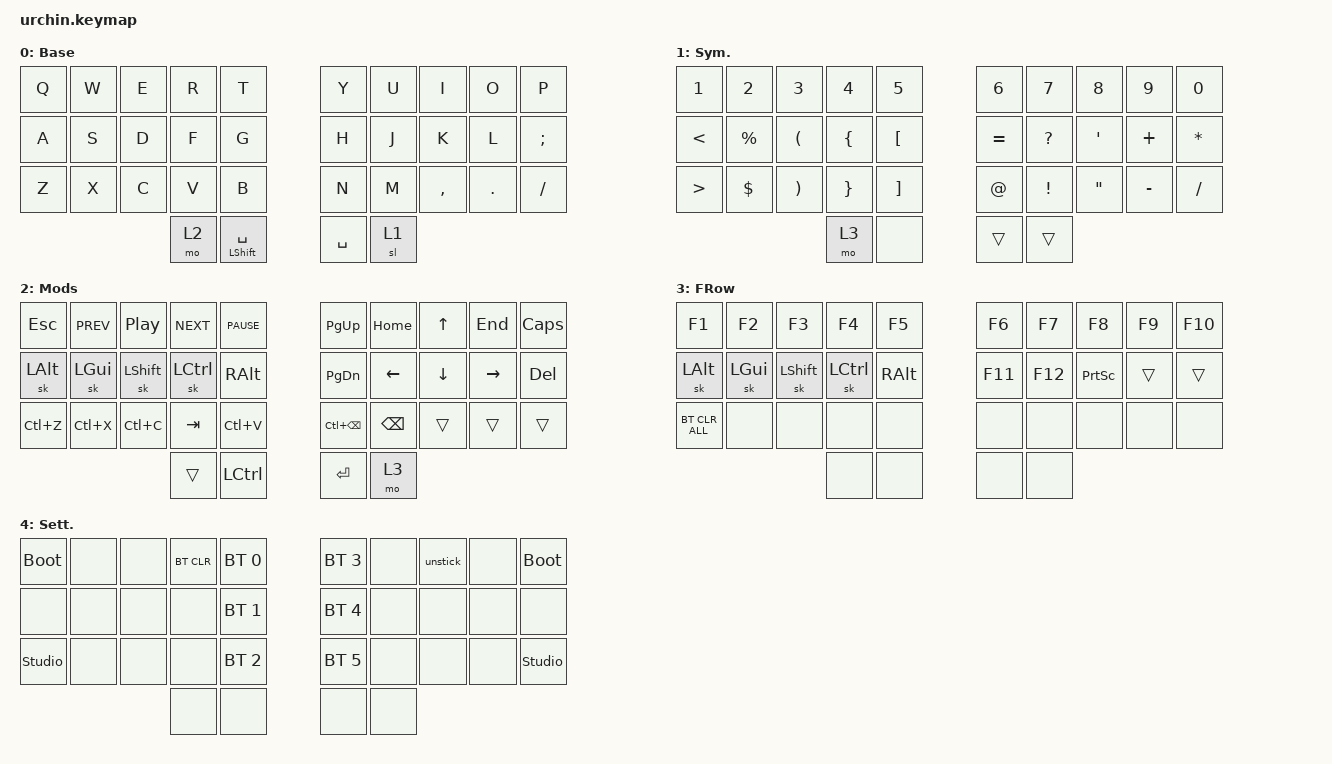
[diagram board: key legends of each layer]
/*
 * Copyright (c) 2020 duckyb
 *
 * SPDX-License-Identifier: MIT
 */

#include <behaviors.dtsi>
#include <dt-bindings/zmk/bt.h>
#include <dt-bindings/zmk/keys.h>
#include "keymap_italian.h"

// Layer definitions

#define BASE 0
#define SYM 1
#define EXT 2
#define FNC 3
#define SYM2 4
#define ACCENT 5
#define SETTINGS 6

// -----------------

&sk {
    // don't release mods on other mods presses

    ignore-modifiers;
};

/ {
    behaviors {
        // Enables holding the first mod-tap key
        // by performing a tap-release-hold sequence.
        // To use it: "&qt KEYCODE1 KEYCODE2"

        qt: quick_tap {
            compatible = "zmk,behavior-hold-tap";
            label = "QUICK_TAP";
            #binding-cells = <2>;
            flavor = "hold-preferred";
            tapping-term-ms = <200>;
            quick-tap-ms = <200>;
            bindings = <&kp>, <&kp>;
        };
    };

    macros {
        // sometimes my device thinks a modifier is being held down
        // pressing all modifiers fixes it.

        unstick: unstick {
            label = "ZM_unstick";
            compatible = "zmk,behavior-macro";
            #binding-cells = <0>;
            bindings = <&kp LSHIFT &kp RSHIFT &kp LCTRL &kp RCTRL &kp LALT &kp RALT &kp LGUI &kp RGUI>;
        };
    };

    combos {
        compatible = "zmk,combos";

        // both right thumb keys
        // internal-left & external-right thumb keys
        // both left thumb keys

        combo_settings {
            timeout-ms = <200>;
            key-positions = <30 31>;
            bindings = <&mo 4>;
        };

        // left index & middle fingers (home-row)
        // hold control & space for Adobe workflow
    };

    keymap {
        compatible = "zmk,keymap";

        // Base alpha layer

        default_layer {
            label = "Base";
            bindings = <
&kp Q  &kp W  &kp E  &kp R  &kp T             &kp Y      &kp U  &kp I      &kp O    &kp P
&kp A  &kp S  &kp D  &kp F  &kp G             &kp H      &kp J  &kp K      &kp L    &kp SEMICOLON
&kp Z  &kp X  &kp C  &kp V  &kp B             &kp N      &kp M  &kp COMMA  &kp DOT  &kp SLASH
                     &mo 2  &qt LSHIFT SPACE  &kp SPACE  &sl 1
            >;
        };

        // Numbers and high frequency symbols

        sym_layer {
            label = "Sym.";
            bindings = <
&kp N1            &kp N2       &kp N3                 &kp N4           &kp N5             &kp N6       &kp N7           &kp N8             &kp N9     &kp N0
&kp LESS_THAN     &kp PERCENT  &kp LEFT_PARENTHESIS   &kp LEFT_BRACE   &kp LEFT_BRACKET   &kp EQUAL    &kp QUESTION     &kp SQT            &kp PLUS   &kp ASTERISK
&kp GREATER_THAN  &kp DOLLAR   &kp RIGHT_PARENTHESIS  &kp RIGHT_BRACE  &kp RIGHT_BRACKET  &kp AT_SIGN  &kp EXCLAMATION  &kp DOUBLE_QUOTES  &kp MINUS  &kp SLASH
                                                      &mo 3            &none              &trans       &trans
            >;
        };

        // Main modifiers and arrow keys

        ext_layer {
            label = "Mods";
            bindings = <
&kp ESC    &kp C_PREV  &kp C_PP    &kp C_NEXT  &kp C_PAUSE  &kp PG_UP     &kp HOME  &kp UP    &kp END    &kp CAPS
&sk LALT   &sk LGUI    &sk LSHIFT  &sk LCTRL   &kp RALT     &kp PG_DN     &kp LEFT  &kp DOWN  &kp RIGHT  &kp DEL
&kp LC(Z)  &kp LC(X)   &kp LC(C)   &kp TAB     &kp LC(V)    &kp LC(BSPC)  &kp BSPC  &trans    &trans     &trans
                                   &trans      &kp LCTRL    &kp ENTER     &mo 3
            >;
        };

        // Function keys with modifiers

        fnc_layer {
            label = "FRow";
            bindings = <
&kp F1          &kp F2    &kp F3      &kp F4     &kp F5    &kp F6   &kp F7   &kp F8           &kp F9  &kp F10
&sk LALT        &sk LGUI  &sk LSHIFT  &sk LCTRL  &kp RALT  &kp F11  &kp F12  &kp PRINTSCREEN  &trans  &trans
&bt BT_CLR_ALL  &none     &none       &none      &none     &none    &none    &none            &none   &none
                                      &none      &none     &none    &none
            >;
        };

        // Low frequency symbols.
        // Used to type regional accents.
        // Used to change the keyboard's settings.

        settings_layer {
            label = "Sett.";
            bindings = <
&bootloader     &none  &none  &bt BT_CLR  &bt BT_SEL 0  &bt BT_SEL 3  &none  &unstick  &none  &bootloader
&none           &none  &none  &none       &bt BT_SEL 1  &bt BT_SEL 4  &none  &none     &none  &none
&studio_unlock  &none  &none  &none       &bt BT_SEL 2  &bt BT_SEL 5  &none  &none     &none  &studio_unlock
                              &none       &none         &none         &none
            >;
        };
    };
};
